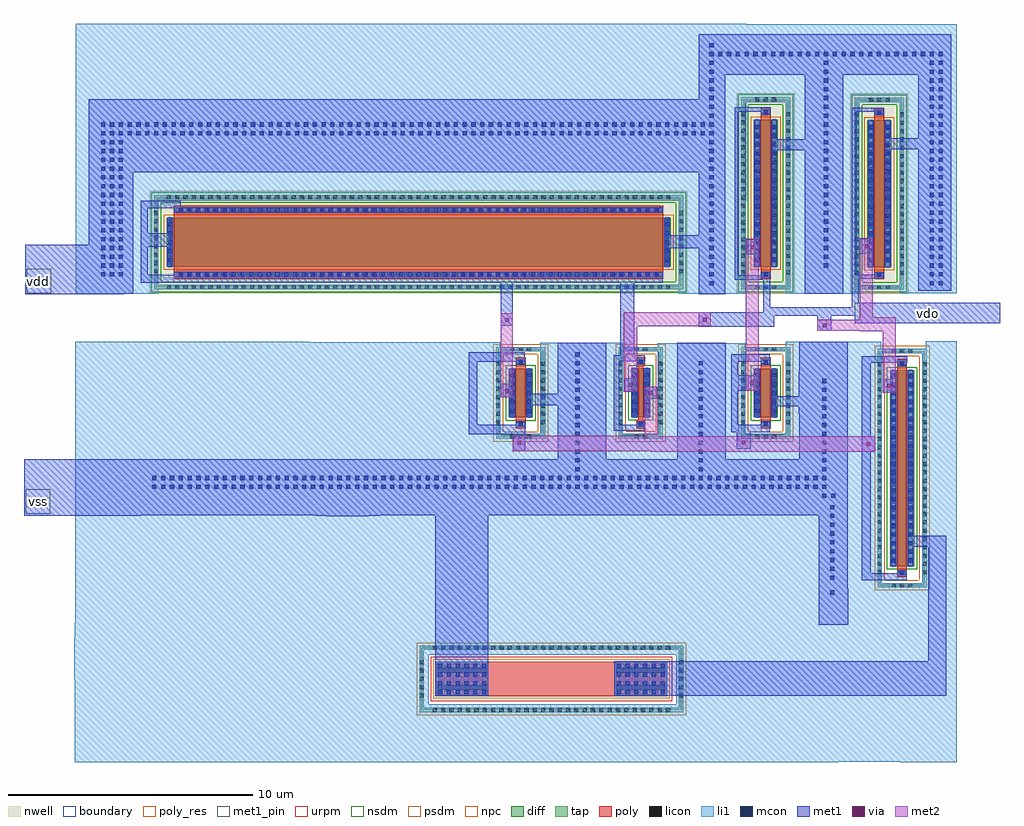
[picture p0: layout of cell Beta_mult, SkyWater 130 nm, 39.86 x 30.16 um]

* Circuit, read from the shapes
.subckt Beta_mult vdd vdo vss
XM1 vss sky130_fd_pr__nfet_01v8_8NR3P7_3/D sky130_fd_pr__nfet_01v8_8NR3P7_1/D vss sky130_fd_pr__nfet_01v8 w=2 l=0.4
XM2 sky130_fd_pr__nfet_01v8_8NR3P7_3/D sky130_fd_pr__nfet_01v8_8NR3P7_1/D vdo vss sky130_fd_pr__nfet_01v8 w=2 l=0.2
XM3 vss sky130_fd_pr__nfet_01v8_8NR3P7_3/D sky130_fd_pr__nfet_01v8_8NR3P7_3/D vss sky130_fd_pr__nfet_01v8 w=2 l=0.4
XM4 sky130_fd_pr__res_xhigh_po_1p41_6MYZWV_7/R1 sky130_fd_pr__nfet_01v8_8NR3P7_3/D vdo vss sky130_fd_pr__nfet_01v8 w=8 l=0.4
XM5 vdd sky130_fd_pr__nfet_01v8_8NR3P7_1/D sky130_fd_pr__nfet_01v8_8NR3P7_1/D vdd sky130_fd_pr__pfet_01v8 w=2 l=20
XM6 vdd vdo sky130_fd_pr__nfet_01v8_8NR3P7_3/D vdd sky130_fd_pr__pfet_01v8 w=6 l=0.4
XM7 vdd vdo vdo vdd sky130_fd_pr__pfet_01v8 w=6 l=0.4
XR8 sky130_fd_pr__res_xhigh_po_1p41_6MYZWV_7/R1 vss vss sky130_fd_pr__res_xhigh_po w=1.41 l=5.18
.ends

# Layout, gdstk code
from math import pi, radians
import gdstk
lib = gdstk.Library(unit=1e-6, precision=1e-09)
def R(c, l, rs):  # rectangles x0, y0, x1, y1
    for r in rs: c.add(gdstk.rectangle(r[:2], r[2:], *l))
def A(c, l, x, y, w, h, nx, ny, dx, dy):  # array of equal rectangles
    R(c, l, [(x+i*dx, y+j*dy, x+i*dx+w, y+j*dy+h) for i in range(nx) for j in range(ny)])
nwell = (64, 20)
diff = (65, 20)
tap = (65, 44)
poly_res = (66, 13)
poly = (66, 20)
licon = (66, 44)
li1 = (67, 20)
mcon = (67, 44)
met1_pin = (68, 16)
met1 = (68, 20)
via = (68, 44)
met2 = (69, 20)
urpm = (79, 20)
nsdm = (93, 44)
psdm = (94, 20)
npc = (95, 20)
boundary = (235, 4)

sky130_fd_pr__nfet_01v8_ = lib.new_cell('sky130_fd_pr__nfet_01v8_8SA9P7')
R(sky130_fd_pr__nfet_01v8_, diff, [(-0.39,-1,0.39,1)])
R(sky130_fd_pr__nfet_01v8_, tap, [(-0.9,-1.87,0.9,-1.7), (-0.9,-1.7,-0.73,1.7), (0.73,-1.7,0.9,1.7), (-0.9,1.7,0.9,1.87)])
R(sky130_fd_pr__nfet_01v8_, poly, [(-0.165,-1.44,0.165,-1.11), (-0.1,-1.11,0.1,1.11), (-0.165,1.11,0.165,1.44)])
A(sky130_fd_pr__nfet_01v8_, licon, -0.9, -1.275, 0.17, 0.17, 1, 8, 0, 0.34)
A(sky130_fd_pr__nfet_01v8_, licon, 0.73, -1.275, 0.17, 0.17, 1, 8, 0, 0.34)
A(sky130_fd_pr__nfet_01v8_, licon, -0.33, -0.935, 0.17, 0.17, 1, 6, 0, 0.34)
A(sky130_fd_pr__nfet_01v8_, licon, 0.16, -0.935, 0.17, 0.17, 1, 6, 0, 0.34)
R(sky130_fd_pr__nfet_01v8_, licon, [(-0.255,-1.87,-0.085,-1.7), (0.085,-1.87,0.255,-1.7), (-0.085,-1.36,0.085,-1.19), (-0.085,1.19,0.085,1.36), (-0.255,1.7,-0.085,1.87), (0.085,1.7,0.255,1.87)])
R(sky130_fd_pr__nfet_01v8_, li1, [(-0.9,-1.87,0.9,-1.7), (-0.9,-1.7,-0.73,1.7), (0.73,-1.7,0.9,1.7), (-0.165,-1.36,0.165,-1.19), (-0.33,-1.02,-0.16,1.02), (0.16,-1.02,0.33,1.02), (-0.165,1.19,0.165,1.36), (-0.9,1.7,0.9,1.87)])
A(sky130_fd_pr__nfet_01v8_, mcon, -0.33, -0.805, 0.17, 0.17, 1, 5, 0, 0.36)
A(sky130_fd_pr__nfet_01v8_, mcon, 0.16, -0.805, 0.17, 0.17, 1, 5, 0, 0.36)
R(sky130_fd_pr__nfet_01v8_, mcon, [(-0.085,-1.36,0.085,-1.19), (-0.085,1.19,0.085,1.36)])
R(sky130_fd_pr__nfet_01v8_, met1, [(-0.145,-1.39,0.145,-1.16), (-0.36,-1,-0.13,1), (0.13,-1,0.36,1), (-0.145,1.16,0.145,1.39)])
R(sky130_fd_pr__nfet_01v8_, nsdm, [(-0.515,-1.125,0.515,1.125)])
R(sky130_fd_pr__nfet_01v8_, psdm, [(-1.025,-1.995,1.025,-1.575), (-1.025,-1.575,-0.605,1.575), (0.605,-1.575,1.025,1.575), (-1.025,1.575,1.025,1.995)])
R(sky130_fd_pr__nfet_01v8_, npc, [(-0.185,-1.46,0.185,-1.09), (-0.185,1.09,0.185,1.46)])
R(sky130_fd_pr__nfet_01v8_, boundary, [(-0.815,-1.785,0.815,1.785)])
sky130_fd_pr__nfet_01v8_.add(gdstk.Label('B', (0,-1.785), layer=67, texttype=5))
sky130_fd_pr__nfet_01v8_.add(gdstk.Label('D', (-0.245,0), layer=67, texttype=5))
sky130_fd_pr__nfet_01v8_.add(gdstk.Label('S', (0.245,0), layer=67, texttype=5))
sky130_fd_pr__nfet_01v8_.add(gdstk.Label('G', (0,1.275), layer=67, texttype=5))

c_sky130_fd_pr__nfet_01v8_ = lib.new_cell('sky130_fd_pr__nfet_01v8_8NR3P7')
R(c_sky130_fd_pr__nfet_01v8_, diff, [(-0.49,-1,0.49,1)])
R(c_sky130_fd_pr__nfet_01v8_, tap, [(-1,-1.87,1,-1.7), (-1,-1.7,-0.83,1.7), (0.83,-1.7,1,1.7), (-1,1.7,1,1.87)])
R(c_sky130_fd_pr__nfet_01v8_, poly, [(-0.2,-1.44,0.2,1.44)])
A(c_sky130_fd_pr__nfet_01v8_, licon, -0.425, -1.87, 0.17, 0.17, 3, 2, 0.34, 3.57)
A(c_sky130_fd_pr__nfet_01v8_, licon, -1, -1.275, 0.17, 0.17, 1, 8, 0, 0.34)
A(c_sky130_fd_pr__nfet_01v8_, licon, 0.83, -1.275, 0.17, 0.17, 1, 8, 0, 0.34)
A(c_sky130_fd_pr__nfet_01v8_, licon, -0.43, -0.935, 0.17, 0.17, 1, 6, 0, 0.34)
A(c_sky130_fd_pr__nfet_01v8_, licon, 0.26, -0.935, 0.17, 0.17, 1, 6, 0, 0.34)
R(c_sky130_fd_pr__nfet_01v8_, licon, [(-0.085,-1.36,0.085,-1.19), (-0.085,1.19,0.085,1.36)])
R(c_sky130_fd_pr__nfet_01v8_, li1, [(-1,-1.87,1,-1.7), (-1,-1.7,-0.83,1.7), (0.83,-1.7,1,1.7), (-0.2,-1.36,0.2,-1.19), (-0.43,-1.02,-0.26,1.02), (0.26,-1.02,0.43,1.02), (-0.2,1.19,0.2,1.36), (-1,1.7,1,1.87)])
A(c_sky130_fd_pr__nfet_01v8_, mcon, -0.43, -0.805, 0.17, 0.17, 1, 5, 0, 0.36)
A(c_sky130_fd_pr__nfet_01v8_, mcon, 0.26, -0.805, 0.17, 0.17, 1, 5, 0, 0.36)
R(c_sky130_fd_pr__nfet_01v8_, mcon, [(-0.085,-1.36,0.085,-1.19), (-0.085,1.19,0.085,1.36)])
R(c_sky130_fd_pr__nfet_01v8_, met1, [(-0.18,-1.39,0.18,-1.16), (-0.46,-1,-0.23,1), (0.23,-1,0.46,1), (-0.18,1.16,0.18,1.39)])
R(c_sky130_fd_pr__nfet_01v8_, nsdm, [(-0.615,-1.125,0.615,1.125)])
R(c_sky130_fd_pr__nfet_01v8_, psdm, [(-1.125,-1.995,1.125,-1.575), (-1.125,-1.575,-0.705,1.575), (0.705,-1.575,1.125,1.575), (-1.125,1.575,1.125,1.995)])
R(c_sky130_fd_pr__nfet_01v8_, npc, [(-0.185,-1.46,0.185,-1.09), (-0.185,1.09,0.185,1.46)])
R(c_sky130_fd_pr__nfet_01v8_, boundary, [(-0.915,-1.785,0.915,1.785)])
c_sky130_fd_pr__nfet_01v8_.add(gdstk.Label('B', (0,-1.785), layer=67, texttype=5))
c_sky130_fd_pr__nfet_01v8_.add(gdstk.Label('D', (-0.345,0), layer=67, texttype=5))
c_sky130_fd_pr__nfet_01v8_.add(gdstk.Label('S', (0.345,0), layer=67, texttype=5))
c_sky130_fd_pr__nfet_01v8_.add(gdstk.Label('G', (0,1.275), layer=67, texttype=5))

sky130_fd_pr__pfet_01v8_ = lib.new_cell('sky130_fd_pr__pfet_01v8_B6MYM2')
R(sky130_fd_pr__pfet_01v8_, nwell, [(-10.98,-2.095,10.98,2.095)])
R(sky130_fd_pr__pfet_01v8_, diff, [(-10.29,-1,10.29,1)])
R(sky130_fd_pr__pfet_01v8_, tap, [(-10.8,-1.915,10.8,-1.745), (-10.8,-1.745,-10.63,1.745), (10.63,-1.745,10.8,1.745), (-10.8,1.745,10.8,1.915)])
R(sky130_fd_pr__pfet_01v8_, poly, [(-10,-1.485,10,1.485)])
A(sky130_fd_pr__pfet_01v8_, licon, -10.285, -1.915, 0.17, 0.17, 61, 2, 0.34, 3.66)
A(sky130_fd_pr__pfet_01v8_, licon, -9.775, -1.405, 0.17, 0.17, 58, 2, 0.34, 2.64)
A(sky130_fd_pr__pfet_01v8_, licon, -10.8, -1.275, 0.17, 0.17, 1, 8, 0, 0.34)
A(sky130_fd_pr__pfet_01v8_, licon, 10.63, -1.275, 0.17, 0.17, 1, 8, 0, 0.34)
A(sky130_fd_pr__pfet_01v8_, licon, -10.23, -0.935, 0.17, 0.17, 1, 6, 0, 0.34)
A(sky130_fd_pr__pfet_01v8_, licon, 10.06, -0.935, 0.17, 0.17, 1, 6, 0, 0.34)
R(sky130_fd_pr__pfet_01v8_, li1, [(-10.8,-1.915,10.8,-1.745), (-10.8,-1.745,-10.63,1.745), (10.63,-1.745,10.8,1.745), (-10,-1.405,10,-1.235), (-10.23,-1.02,-10.06,1.02), (10.06,-1.02,10.23,1.02), (-10,1.235,10,1.405), (-10.8,1.745,10.8,1.915)])
A(sky130_fd_pr__pfet_01v8_, mcon, -9.805, -1.405, 0.17, 0.17, 55, 2, 0.36, 2.64)
A(sky130_fd_pr__pfet_01v8_, mcon, -10.23, -0.805, 0.17, 0.17, 1, 5, 0, 0.36)
A(sky130_fd_pr__pfet_01v8_, mcon, 10.06, -0.805, 0.17, 0.17, 1, 5, 0, 0.36)
R(sky130_fd_pr__pfet_01v8_, met1, [(-9.98,-1.435,9.98,-1.205), (-10.26,-1,-10.03,1), (10.03,-1,10.26,1), (-9.98,1.205,9.98,1.435)])
R(sky130_fd_pr__pfet_01v8_, nsdm, [(-10.925,-2.04,10.925,-1.62), (-10.925,-1.62,-10.505,1.62), (10.505,-1.62,10.925,1.62), (-10.925,1.62,10.925,2.04)])
R(sky130_fd_pr__pfet_01v8_, psdm, [(-10.415,-1.125,10.415,1.125)])
R(sky130_fd_pr__pfet_01v8_, npc, [(-9.875,-1.505,9.875,-1.135), (-9.875,1.135,9.875,1.505)])
R(sky130_fd_pr__pfet_01v8_, boundary, [(-10.715,-1.83,10.715,1.83)])
sky130_fd_pr__pfet_01v8_.add(gdstk.Label('B', (0,-1.83), layer=67, texttype=5))
sky130_fd_pr__pfet_01v8_.add(gdstk.Label('D', (-10.145,0), layer=67, texttype=5))
sky130_fd_pr__pfet_01v8_.add(gdstk.Label('S', (10.145,0), layer=67, texttype=5))
sky130_fd_pr__pfet_01v8_.add(gdstk.Label('G', (0,1.32), layer=67, texttype=5))

c_sky130_fd_pr__nfet_01v8__ = lib.new_cell('sky130_fd_pr__nfet_01v8_WVN3PK')
R(c_sky130_fd_pr__nfet_01v8__, diff, [(-0.49,-4,0.49,4)])
R(c_sky130_fd_pr__nfet_01v8__, tap, [(-1,-4.87,1,-4.7), (-1,-4.7,-0.83,4.7), (0.83,-4.7,1,4.7), (-1,4.7,1,4.87)])
R(c_sky130_fd_pr__nfet_01v8__, poly, [(-0.2,-4.44,0.2,4.44)])
A(c_sky130_fd_pr__nfet_01v8__, licon, -0.425, -4.87, 0.17, 0.17, 3, 2, 0.34, 9.57)
A(c_sky130_fd_pr__nfet_01v8__, licon, -1, -4.335, 0.17, 0.17, 1, 26, 0, 0.34)
A(c_sky130_fd_pr__nfet_01v8__, licon, 0.83, -4.335, 0.17, 0.17, 1, 26, 0, 0.34)
A(c_sky130_fd_pr__nfet_01v8__, licon, -0.43, -3.825, 0.17, 0.17, 1, 23, 0, 0.34)
A(c_sky130_fd_pr__nfet_01v8__, licon, 0.26, -3.825, 0.17, 0.17, 1, 23, 0, 0.34)
R(c_sky130_fd_pr__nfet_01v8__, licon, [(-0.085,-4.36,0.085,-4.19), (-0.085,4.19,0.085,4.36)])
R(c_sky130_fd_pr__nfet_01v8__, li1, [(-1,-4.87,1,-4.7), (-1,-4.7,-0.83,4.7), (0.83,-4.7,1,4.7), (-0.2,-4.36,0.2,-4.19), (-0.43,-4.02,-0.26,4.02), (0.26,-4.02,0.43,4.02), (-0.2,4.19,0.2,4.36), (-1,4.7,1,4.87)])
A(c_sky130_fd_pr__nfet_01v8__, mcon, -0.43, -3.865, 0.17, 0.17, 1, 22, 0, 0.36)
A(c_sky130_fd_pr__nfet_01v8__, mcon, 0.26, -3.865, 0.17, 0.17, 1, 22, 0, 0.36)
R(c_sky130_fd_pr__nfet_01v8__, mcon, [(-0.085,-4.36,0.085,-4.19), (-0.085,4.19,0.085,4.36)])
R(c_sky130_fd_pr__nfet_01v8__, met1, [(-0.18,-4.39,0.18,-4.16), (-0.46,-4,-0.23,4), (0.23,-4,0.46,4), (-0.18,4.16,0.18,4.39)])
R(c_sky130_fd_pr__nfet_01v8__, nsdm, [(-0.615,-4.125,0.615,4.125)])
R(c_sky130_fd_pr__nfet_01v8__, psdm, [(-1.125,-4.995,1.125,-4.575), (-1.125,-4.575,-0.705,4.575), (0.705,-4.575,1.125,4.575), (-1.125,4.575,1.125,4.995)])
R(c_sky130_fd_pr__nfet_01v8__, npc, [(-0.185,-4.46,0.185,-4.09), (-0.185,4.09,0.185,4.46)])
R(c_sky130_fd_pr__nfet_01v8__, boundary, [(-0.915,-4.785,0.915,4.785)])
c_sky130_fd_pr__nfet_01v8__.add(gdstk.Label('B', (0,-4.785), layer=67, texttype=5))
c_sky130_fd_pr__nfet_01v8__.add(gdstk.Label('D', (-0.345,0), layer=67, texttype=5))
c_sky130_fd_pr__nfet_01v8__.add(gdstk.Label('S', (0.345,0), layer=67, texttype=5))
c_sky130_fd_pr__nfet_01v8__.add(gdstk.Label('G', (0,4.275), layer=67, texttype=5))

c_sky130_fd_pr__pfet_01v8_ = lib.new_cell('sky130_fd_pr__pfet_01v8_NMD27C')
R(c_sky130_fd_pr__pfet_01v8_, nwell, [(-1.18,-4.095,1.18,4.095)])
R(c_sky130_fd_pr__pfet_01v8_, diff, [(-0.49,-3,0.49,3)])
R(c_sky130_fd_pr__pfet_01v8_, tap, [(-1,-3.915,1,-3.745), (-1,-3.745,-0.83,3.745), (0.83,-3.745,1,3.745), (-1,3.745,1,3.915)])
R(c_sky130_fd_pr__pfet_01v8_, poly, [(-0.2,-3.485,0.2,3.485)])
A(c_sky130_fd_pr__pfet_01v8_, licon, -0.425, -3.915, 0.17, 0.17, 3, 2, 0.34, 7.66)
A(c_sky130_fd_pr__pfet_01v8_, licon, -1, -3.315, 0.17, 0.17, 1, 20, 0, 0.34)
A(c_sky130_fd_pr__pfet_01v8_, licon, 0.83, -3.315, 0.17, 0.17, 1, 20, 0, 0.34)
A(c_sky130_fd_pr__pfet_01v8_, licon, -0.43, -2.805, 0.17, 0.17, 1, 17, 0, 0.34)
A(c_sky130_fd_pr__pfet_01v8_, licon, 0.26, -2.805, 0.17, 0.17, 1, 17, 0, 0.34)
R(c_sky130_fd_pr__pfet_01v8_, licon, [(-0.085,-3.405,0.085,-3.235), (-0.085,3.235,0.085,3.405)])
R(c_sky130_fd_pr__pfet_01v8_, li1, [(-1,-3.915,1,-3.745), (-1,-3.745,-0.83,3.745), (0.83,-3.745,1,3.745), (-0.2,-3.405,0.2,-3.235), (-0.43,-3.02,-0.26,3.02), (0.26,-3.02,0.43,3.02), (-0.2,3.235,0.2,3.405), (-1,3.745,1,3.915)])
A(c_sky130_fd_pr__pfet_01v8_, mcon, -0.43, -2.785, 0.17, 0.17, 1, 16, 0, 0.36)
A(c_sky130_fd_pr__pfet_01v8_, mcon, 0.26, -2.785, 0.17, 0.17, 1, 16, 0, 0.36)
R(c_sky130_fd_pr__pfet_01v8_, mcon, [(-0.085,-3.405,0.085,-3.235), (-0.085,3.235,0.085,3.405)])
R(c_sky130_fd_pr__pfet_01v8_, met1, [(-0.18,-3.435,0.18,-3.205), (-0.46,-3,-0.23,3), (0.23,-3,0.46,3), (-0.18,3.205,0.18,3.435)])
R(c_sky130_fd_pr__pfet_01v8_, nsdm, [(-1.125,-4.04,1.125,-3.62), (-1.125,-3.62,-0.705,3.62), (0.705,-3.62,1.125,3.62), (-1.125,3.62,1.125,4.04)])
R(c_sky130_fd_pr__pfet_01v8_, psdm, [(-0.615,-3.125,0.615,3.125)])
R(c_sky130_fd_pr__pfet_01v8_, npc, [(-0.185,-3.505,0.185,-3.135), (-0.185,3.135,0.185,3.505)])
R(c_sky130_fd_pr__pfet_01v8_, boundary, [(-0.915,-3.83,0.915,3.83)])
c_sky130_fd_pr__pfet_01v8_.add(gdstk.Label('B', (0,-3.83), layer=67, texttype=5))
c_sky130_fd_pr__pfet_01v8_.add(gdstk.Label('D', (-0.345,0), layer=67, texttype=5))
c_sky130_fd_pr__pfet_01v8_.add(gdstk.Label('S', (0.345,0), layer=67, texttype=5))
c_sky130_fd_pr__pfet_01v8_.add(gdstk.Label('G', (0,3.32), layer=67, texttype=5))

sky130_fd_pr__res_xhigh_ = lib.new_cell('sky130_fd_pr__res_xhigh_po_1p41_6MYZWV')
R(sky130_fd_pr__res_xhigh_, tap, [(-1.355,-5.38,1.355,-5.21), (-1.355,-5.21,-1.185,5.21), (1.185,-5.21,1.355,5.21), (-1.355,5.21,1.355,5.38)])
R(sky130_fd_pr__res_xhigh_, poly_res, [(-0.705,-2.65,0.705,2.65)])
R(sky130_fd_pr__res_xhigh_, poly, [(-0.705,-4.73,0.705,4.73)])
A(sky130_fd_pr__res_xhigh_, licon, -0.765, -5.38, 0.17, 0.17, 5, 2, 0.34, 10.59)
A(sky130_fd_pr__res_xhigh_, licon, -1.355, -4.845, 0.17, 0.17, 1, 29, 0, 0.34)
A(sky130_fd_pr__res_xhigh_, licon, 1.185, -4.845, 0.17, 0.17, 1, 29, 0, 0.34)
R(sky130_fd_pr__res_xhigh_, licon, [(-0.45,-4.65,-0.26,-2.65), (0.26,-4.65,0.45,-2.65), (-0.45,2.65,-0.26,4.65), (0.26,2.65,0.45,4.65)])
R(sky130_fd_pr__res_xhigh_, li1, [(-1.355,-5.38,1.355,-5.21), (-1.355,-5.21,-1.185,5.21), (1.185,-5.21,1.355,5.21), (-0.705,-4.73,0.705,-2.57), (-0.705,2.57,0.705,4.73), (-1.355,5.21,1.355,5.38)])
A(sky130_fd_pr__res_xhigh_, mcon, -0.625, -4.635, 0.17, 0.17, 4, 6, 0.36, 0.36)
A(sky130_fd_pr__res_xhigh_, mcon, -0.625, 2.66, 0.17, 0.17, 4, 6, 0.36, 0.36)
R(sky130_fd_pr__res_xhigh_, met1, [(-0.655,-4.7,0.655,-2.595), (-0.655,2.595,0.655,4.7)])
R(sky130_fd_pr__res_xhigh_, urpm, [(-0.905,-4.93,0.905,4.93)])
R(sky130_fd_pr__res_xhigh_, psdm, [(-1.48,-5.505,1.48,5.505)])
R(sky130_fd_pr__res_xhigh_, npc, [(-0.8,-4.825,0.8,4.825)])
R(sky130_fd_pr__res_xhigh_, boundary, [(-1.27,-5.295,1.27,5.295)])
sky130_fd_pr__res_xhigh_.add(gdstk.Label('B', (0,-5.295), layer=67, texttype=5))
sky130_fd_pr__res_xhigh_.add(gdstk.Label('R1', (0,4.555), layer=67, texttype=5))
sky130_fd_pr__res_xhigh_.add(gdstk.Label('R2', (0,-4.555), layer=67, texttype=5))

beta_mult = lib.new_cell('Beta_mult')
R(beta_mult, li1, [(-4.04,0.87,27.15,0.89), (29.65,0.87,31.99,0.89), (-4.04,0.89,31.99,3.23), (-4.04,3.23,10.41,4.24), (20.53,3.23,31.99,5.27), (-4.05,4.24,10.41,5.27), (-4.05,5.27,31.99,5.96), (-4.04,5.96,31.99,6.56), (-4.02,6.56,31.99,8.16), (-4.02,8.16,30.43,8.18), (30.71,8.16,31.99,18.06), (-4.02,8.18,28.9,10.4), (-4.01,10.4,28.9,14.28), (-4.01,14.28,13.33,18.03), (14.98,14.28,18.35,18), (19.77,14.28,23.35,17.99), (25,14.28,28.9,18.04), (-4.01,18.03,5.53,18.04), (27.82,18.04,28.9,18.05), (20.64,20,23.37,23.81), (-4.005,20.01,-0.63,23.81), (25,20.01,28.01,27.83), (29.65,20.03,31.99,27.83), (-4.005,23.81,23.38,27.83), (-4.005,27.83,31.99,31.02), (-4.005,31.02,23.38,31.03)])
A(beta_mult, mcon, 26.82, 8.325, 0.17, 0.17, 1, 9, 0, 0.36)
A(beta_mult, mcon, -0.87, 12.035, 0.17, 0.17, 77, 2, 0.36, 0.36)
A(beta_mult, mcon, 16.41, 12.755, 0.17, 0.17, 3, 11, 5.04, 0.36)
A(beta_mult, mcon, 16.41, 16.715, 0.17, 0.17, 1, 3, 0, 0.36)
A(beta_mult, mcon, 21.88, 20.35, 0.17, 0.17, 1, 17, 0, 0.36)
A(beta_mult, mcon, 30.88, 20.35, 0.17, 0.17, 1, 26, 0, 0.36)
A(beta_mult, mcon, 31.24, 20.35, 0.17, 0.17, 1, 26, 0, 0.36)
A(beta_mult, mcon, -2.96, 20.71, 0.17, 0.17, 3, 16, 0.36, 0.36)
A(beta_mult, mcon, 26.56, 21.07, 0.17, 0.17, 1, 24, 0, 0.36)
A(beta_mult, mcon, -2.96, 26.47, 0.17, 0.17, 70, 2, 0.36, 0.36)
A(beta_mult, mcon, 21.88, 27.19, 0.17, 0.17, 1, 7, 0, 0.36)
A(beta_mult, mcon, 21.88, 29.71, 0.17, 0.17, 27, 1, 0.36, 0)
R(beta_mult, mcon, [(26.82,7.72,26.99,7.89), (26.49,11.675,26.66,11.845), (26.85,11.675,27.02,11.845), (21.45,16.715,21.62,16.885), (21.45,17.075,21.62,17.245), (21.88,30.07,22.05,30.24)])
R(beta_mult, met1_pin, [(-6.03,11.01,-5.03,12.01), (27.81,18.79,33.75,19.63), (-6,20.02,-5,21.02)])
R(beta_mult, met1, [(10.68,3.58,12.86,10.95), (30.06,3.58,31.56,3.59), (18,3.59,31.56,4.99), (30.82,4.99,31.56,9.67), (26.34,6.48,27.55,7.98), (26.35,7.98,27.54,10.95), (28.11,8.31,29.95,8.58), (28.11,8.58,28.47,13.57), (30.11,9.67,31.56,10.12), (6.26,10.92,7.94,10.94), (-6.11,10.93,-1.33,10.95), (5.8,10.94,8.41,10.95), (-6.11,10.95,27.54,13.24), (-6.11,13.24,-1.33,13.25), (15.69,13.24,17.67,15.44), (20.57,13.24,22.55,18), (25.56,13.24,27.54,15.09), (28.11,13.57,28.66,14.19), (13.86,13.58,14.36,14.27), (23,13.68,23.58,14.35), (28.11,14.19,28.47,17.18), (12.06,14.27,14.36,14.65), (22.77,14.35,24.34,14.65), (17.98,14.4,19.23,14.65), (12.06,14.65,12.41,17.23), (17.98,14.65,18.21,17.25), (22.77,14.65,23.04,16.05), (25.54,15.09,27.54,15.41), (24.51,15.41,27.54,15.82), (14.53,15.44,17.67,15.92), (19.31,15.72,19.76,16.2), (13.37,15.78,13.85,16.32), (25.54,15.82,27.54,16.82), (15.69,15.92,17.67,18), (28.96,15.97,29.47,16.51), (18.4,16.02,18.91,16.56), (22.77,16.05,23.9,16.67), (22.77,16.67,23.04,17.23), (25.56,16.82,27.54,18.05), (28.11,17.18,29.96,17.45), (12.05,17.23,14.35,17.61), (22.77,17.23,24.35,17.53), (17.98,17.25,19.24,17.5), (18.25,17.5,18.81,20.45), (26.28,18.49,26.86,19.1), (21.45,18.66,24.54,19.1), (13.37,18.69,13.86,20.45), (27.81,18.79,33.75,19.1), (21.45,19.1,33.75,19.24), (24.08,19.24,33.75,19.46), (24.08,19.46,24.36,20.57), (27.7,19.46,33.75,19.63), (27.7,19.63,27.98,20.61), (21.45,19.98,22.53,21.87), (-6.05,19.99,-2.01,20.01), (-6.05,20.01,-1.65,22.01), (25.78,20.01,27.35,22.06), (30.42,20.13,31.76,22.14), (-1.35,20.45,19.98,20.76), (22.91,20.57,24.36,20.75), (27.7,20.61,29.01,20.77), (22.91,20.75,23.05,27.44), (-1.35,20.76,0.28,20.77), (-1.35,20.77,-1.05,21.93), (27.7,20.77,27.88,27.44), (23.38,21.61,23.9,22.23), (28.03,21.64,28.55,22.26), (20.17,21.87,22.53,22.39), (-1.35,21.93,-0.19,22.47), (-3.46,22.01,-1.65,24.96), (25.77,22.06,27.35,25.86), (30.41,22.14,31.76,25.9), (21.45,22.39,22.53,24.96), (-1.35,22.47,-1.05,23.49), (-1.35,23.49,0.3,23.81), (-3.46,24.96,22.53,27.95), (24.52,25.86,27.35,26.31), (29.2,25.9,31.76,26.35), (25.78,26.31,27.35,28.95), (30.42,26.35,31.76,28.95), (22.91,27.44,24.36,27.62), (27.7,27.44,29,27.6), (21.45,27.95,22.53,28.95), (21.45,28.95,31.76,30.6)])
R(beta_mult, via, [(28.31,13.795,28.46,13.945), (14.045,13.84,14.195,13.99), (23.205,13.85,23.355,14), (19.425,15.885,19.575,16.035), (13.545,15.965,13.695,16.115), (29.155,16.155,29.305,16.305), (18.59,16.2,18.74,16.35), (23.56,16.29,23.71,16.44), (26.515,18.63,26.665,18.78), (13.545,18.855,13.695,19.005), (21.615,18.865,21.765,19.015), (23.57,21.83,23.72,21.98), (28.24,21.87,28.39,22.02)])
R(beta_mult, met2, [(19.55,13.56,28.66,13.58), (13.86,13.58,28.66,14.19), (13.86,14.19,19.79,14.21), (19.25,14.21,19.77,16.21), (13.37,15.78,13.86,19.2), (28.96,15.97,29.49,18.48), (18.39,16.01,18.94,18.67), (23.37,16.05,23.89,22.24), (28.03,18.48,29.5,18.49), (26.28,18.49,29.5,18.94), (18.39,18.67,21.93,19.24), (28.03,18.94,29.5,19.05), (28.03,19.05,28.56,22.24)])
beta_mult.add(gdstk.Reference(sky130_fd_pr__nfet_01v8_, (19.08,15.955)))
beta_mult.add(gdstk.Reference(c_sky130_fd_pr__nfet_01v8_, (14.175,15.95)))
beta_mult.add(gdstk.Reference(sky130_fd_pr__pfet_01v8_, (10.005,22.11)))
beta_mult.add(gdstk.Reference(c_sky130_fd_pr__nfet_01v8_, (24.18,15.95)))
beta_mult.add(gdstk.Reference(c_sky130_fd_pr__nfet_01v8__, (29.75,12.88)))
beta_mult.add(gdstk.Reference(c_sky130_fd_pr__pfet_01v8_, (24.18,24.105)))
beta_mult.add(gdstk.Reference(c_sky130_fd_pr__pfet_01v8_, (28.82,24.095)))
beta_mult.add(gdstk.Reference(sky130_fd_pr__res_xhigh_, (15.43,4.275), rotation=3*pi/2))
beta_mult.add(gdstk.Label('vdd', (-5.5,20.52), layer=68, texttype=5))
beta_mult.add(gdstk.Label('vss', (-5.53,11.51), layer=68, texttype=5))
beta_mult.add(gdstk.Label('vdo', (30.78,19.21), layer=68, texttype=5))

lib.write_gds('Beta_mult.gds')
